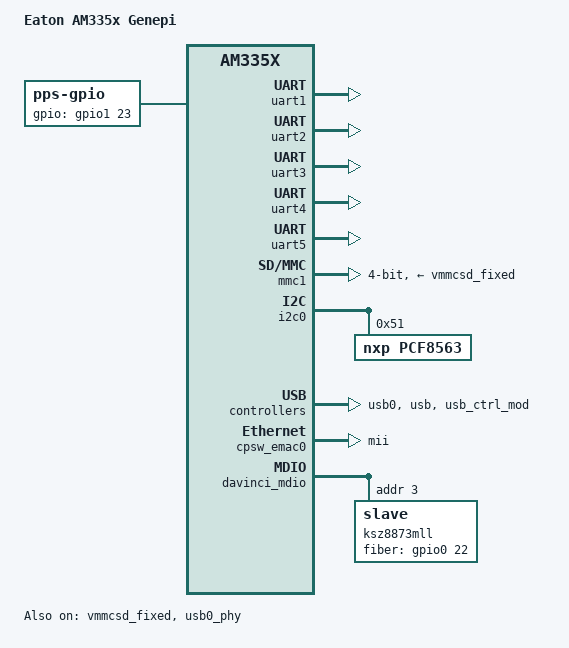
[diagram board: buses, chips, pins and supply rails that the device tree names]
/*
 * Heavily modified from BBB DTS, which was:
 * Copyright (C) 2012 Texas Instruments Incorporated - http://www.ti.com/
 *
 * This program is free software; you can redistribute it and/or modify
 * it under the terms of the GNU General Public License version 2 as
 * published by the Free Software Foundation.
 */
/dts-v1/;

#include "am33xx.dtsi"
#include "am335x-bone-common.dtsi"
#include "am335x-io2200-gpio.dtsi"
#include "am335x-io2200-nor.dtsi"
#include "am335x-io2200-nand.dtsi"
#include "am335x-genepi.dtsi"

&vmmcsd_fixed {
	status = "okay";
};
&mmc1 {
	vmmc-supply = <&vmmcsd_fixed>;
	pinctrl-names = "default";
	pinctrl-0 = <&mmc0_pins_default>;
	bus-width = <4>;
	status = "okay";
};

&mmc2 {
	vmmc-supply = <&vmmcsd_fixed>;
	pinctrl-names = "default";
	pinctrl-0 = <&emmc_pins>;
	bus-width = <8>;
	status = "disabled";
};

&uart0 {
	status = "disable";
};

&uart1 {
	pinctrl-names = "default";
	status = "okay";
	pinctrl-0 = <&uart1_485_pins_default>;
	rs485-rx-during-tx;
	linux,rs485-enabled-at-boot-time;
	rs485-rts-active-high;
};

&uart4 {
	pinctrl-names = "default";
	pinctrl-0 = <&uart4_dbg_pins_default>;
	status = "okay";
};

&uart5 {
	pinctrl-names = "default";
	pinctrl-0 = <&uart5_psoc_pins_default>;
	status = "okay";
};

&i2c0 {
	status = "okay";
pcf8563: pcf8563@51 {
		 compatible = "nxp,pcf8563";
		 reg = <0x51>;
	 };
};

&i2c1 {
	status = "disabled";
};
&i2c2 {
	status = "disabled";
};
&usb0 {
	status = "okay";
};
&usb0_phy {
	status = "okay";
};
&usb1 {
	status = "disabled";
};
&usb1_phy {
	status = "disabled";
};

&usb {
	status = "okay";
};

&usb_ctrl_mod {
	status = "okay";
};

&cppi41dma  {
	status = "okay";
};

&gpio3 {
	status = "disable";
};

&cpsw_emac0 {
	phy_id = <&davinci_mdio>, <3>;
	phy-mode = "mii";
};

&davinci_mdio {
ksz8873mll:slave@3 {
		   fiber-gpios = <&gpio0 22 GPIO_ACTIVE_HIGH>;
		   reg = <3>;
	   };
};

/ {
	model = "Eaton AM335x Genepi";
	compatible = "ti,am335x-bone-black", "ti,am335x-bone", "ti,am33xx", "eaton,am335x_genepi";
	chosen {
		stdout-path = &uart4;
		tick-timer = &timer2;
	};
	ocp {
uart0: serial@44e09000 {
	       compatible = "ti,am3352-uart";
       };
uart1: serial@48022000 {
	       compatible = "ti,am3352-uart";
       };
uart2: serial@48024000 {
	       compatible = "ti,am3352-uart";
       };
uart3: serial@481a6000 {
	       compatible = "ti,am3352-uart";
       };
uart4: serial@481a8000 {
	       compatible = "ti,am3352-uart";
       };
uart5: serial@481aa000 {
	       compatible = "ti,am3352-uart";
       };
rtc: rtc@44e3e000 {
	     status = "disabled";
     };
     pps {
	     compatible = "pps-gpio";
	     pinctrl-names = "default";
	     pinctrl-0 = <&gpio1_pins_default>;
	     gpios = <&gpio1 23 GPIO_ACTIVE_HIGH>;
	     assert-rising-edge;
	     status = "okay";
     };
	};
};

